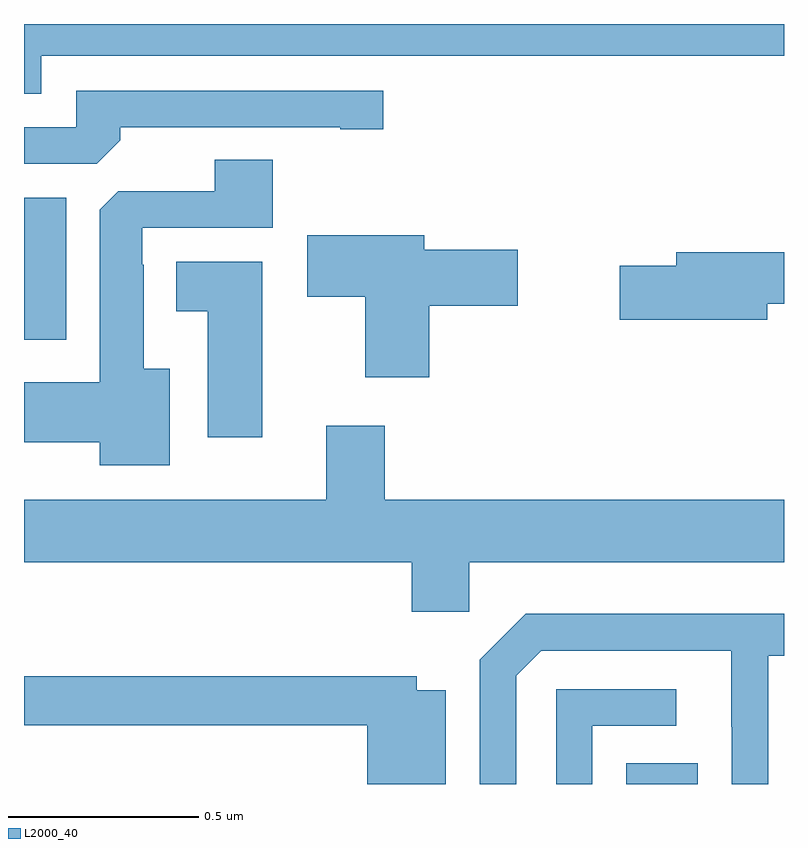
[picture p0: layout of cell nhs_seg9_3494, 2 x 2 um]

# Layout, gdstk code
import gdstk
lib = gdstk.Library(unit=1e-6, precision=1e-09)
def R(c, l, rs):  # rectangles x0, y0, x1, y1
    for r in rs: c.add(gdstk.rectangle(r[:2], r[2:], *l))
def P(c, l, *ps):  # polygons
    for p in ps: c.add(gdstk.Polygon(p, *l))
L2000_40 = (2000, 40)

nhs_seg9_3494 = lib.new_cell('nhs_seg9_3494')
R(nhs_seg9_3494, L2000_40, [(155.585,1198.5,155.773,1198.555), (154,1199.669,154.111,1200.043)])
P(nhs_seg9_3494, L2000_40, [(154.045,1200.416),(156,1200.416),(156,1200.5),(154,1200.5),(154,1200.317),(154.045,1200.317)],
  [(154.253,1200.194),(154.253,1200.228),(154.832,1200.228),(154.832,1200.223),(154.945,1200.223),(154.945,1200.324),(154.137,1200.324),(154.137,1200.228),(154,1200.228),(154,1200.132),(154.191,1200.132)],
  [(154.384,1199.593),(154.315,1199.593),(154.315,1199.867),(154.311,1199.867),(154.311,1199.964),(154.655,1199.964),(154.655,1200.143),(154.502,1200.143),(154.502,1200.06),(154.248,1200.06),(154.199,1200.011),(154.199,1199.557),(154,1199.557),(154,1199.399),(154.199,1199.399),(154.199,1199.339),(154.384,1199.339)],
  [(155.066,1199.759),(155.299,1199.759),(155.299,1199.906),(155.053,1199.906),(155.053,1199.944),(154.746,1199.944),(154.746,1199.782),(154.898,1199.782),(154.898,1199.571),(155.066,1199.571)],
  [(155.956,1199.764),(156,1199.764),(156,1199.9),(155.717,1199.9),(155.717,1199.864),(155.568,1199.864),(155.568,1199.722),(155.956,1199.722)],
  [(154.627,1199.875),(154.4,1199.875),(154.4,1199.744),(154.484,1199.744),(154.484,1199.412),(154.627,1199.412)],
  [(155.172,1199.084),(156,1199.084),(156,1199.248),(154.949,1199.248),(154.949,1199.443),(154.796,1199.443),(154.796,1199.248),(154,1199.248),(154,1199.084),(155.021,1199.084),(155.021,1198.953),(155.172,1198.953)],
  [(155.295,1198.785),(155.361,1198.851),(155.861,1198.851),(155.861,1198.651),(155.862,1198.651),(155.862,1198.5),(155.958,1198.5),(155.958,1198.838),(156,1198.838),(156,1198.948),(155.32,1198.948),(155.199,1198.827),(155.199,1198.5),(155.295,1198.5)],
  [(155.11,1198.747),(155.034,1198.747),(155.034,1198.783),(154,1198.783),(154,1198.654),(154.903,1198.654),(154.903,1198.5),(155.11,1198.5)],
  [(155.496,1198.653),(155.716,1198.653),(155.716,1198.749),(155.4,1198.749),(155.4,1198.5),(155.496,1198.5)])

lib.write_gds('nhs_seg9_3494.gds')
